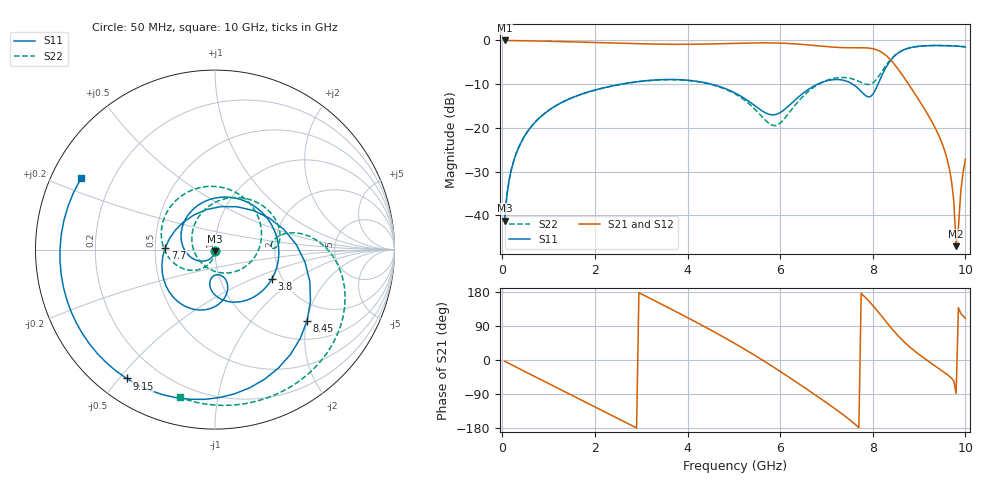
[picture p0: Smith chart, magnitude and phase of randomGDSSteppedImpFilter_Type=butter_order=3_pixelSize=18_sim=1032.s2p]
! freq	dB(S11)	phase(S11)	dB(S12)	phase(S12)
!  dB(S21)	phase(S21)	dB(S22)	phase(S22)
!S-par simulation data
#  GHz  S  DB  R 50
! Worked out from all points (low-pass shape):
!   200 points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, 50 MHz to 10 GHz, reference 50 ohm
!   highest |S21| = -0.01 dB at 50 MHz (marker M1); lowest = -47.0 dB at 9.8 GHz (marker M2)
!   |S21| within 3 dB of the highest: start of sweep to 8.233 GHz
!   lowest |S11| = -41.2 dB at 50 MHz (marker M3), VSWR 1.02, Z = 50 - j0.872 ohm
!   |S11| at or under -10 dB: start of sweep to 2.566 GHz; 4.516 GHz to 6.808 GHz (2.292 GHz wide, 40.5 % of centre); 7.565 GHz to 8.113 GHz (548.4 MHz wide, 7 % of centre)
!   |S22| runs from -41.1 to -1.2 dB; largest |S21 - S12| = 0
!   S11 on the Smith chart (normalised r, x): 50 MHz: 1.00, -0.02; 3.8 GHz: 1.77, -0.66; 7.7 GHz: 0.57, +0.01; 8.45 GHz: 1.47, -2.01; 9.15 GHz: 0.09, -0.52; 10 GHz: 0.09, +0.25
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0.05  -41.18 -92.6  -0.01 -3.2  -0.01 -3.2  -41.15 -90.5
0.2  -29.34 -106.1  -0.03 -12.6  -0.03 -12.6  -29.31 -98.5
0.5  -21.57 -131.3  -0.07 -31.2  -0.07 -31.2  -21.54 -112.1
1.15  -14.97 175.2  -0.23 -71.5  -0.23 -71.5  -14.97 -139.7
1.75  -12.15 125.6  -0.40 -108.4  -0.40 -108.4  -12.16 -164.0
2.6  -9.94 57.1  -0.66 -160.8  -0.66 -160.8  -9.97 160.1
3.4  -8.98 -1.1  -0.86 149.6  -0.86 149.6  -9.03 119.9
3.8  -8.96 -27.0  -0.90 124.5  -0.90 124.5  -9.02 96.2
4.45  -9.83 -64.3  -0.83 82.5  -0.83 82.5  -9.91 51.0
5.05  -12.15 -91.3  -0.67 41.5  -0.67 41.5  -12.38 -1.4
5.85  -17.02 -84.8  -0.58 -18.2  -0.58 -18.2  -19.46 -129.1
6.7  -10.60 -83.6  -1.13 -87.3  -1.13 -87.3  -10.91 80.6
7.7  -11.14 177.8  -1.67 -178.5  -1.67 -178.5  -9.37 2.1
8.05  -11.44 63.1  -2.03 136.8  -2.03 136.8  -9.27 10.7
8.35  -5.08 -18.6  -4.06 91.5  -4.06 91.5  -4.78 4.7
8.45  -3.76 -37.7  -5.24 76.9  -5.24 76.9  -3.65 -3.0
8.75  -1.82 -82.1  -9.64 39.5  -9.64 39.5  -1.86 -28.0
9.15  -1.20 -124.5  -16.26 1.2  -16.26 1.2  -1.22 -55.8
9.65  -1.23 -170.7  -29.14 -42.5  -29.14 -42.5  -1.19 -84.2
9.75  -1.28 179.4  -36.75 -55.3  -36.75 -55.3  -1.24 -89.6
9.8  -1.30 174.3  -47.05 -88.5  -47.05 -88.5  -1.27 -92.3
10  -1.46 152.0  -27.12 109.9  -27.12 109.9  -1.46 -103.5
